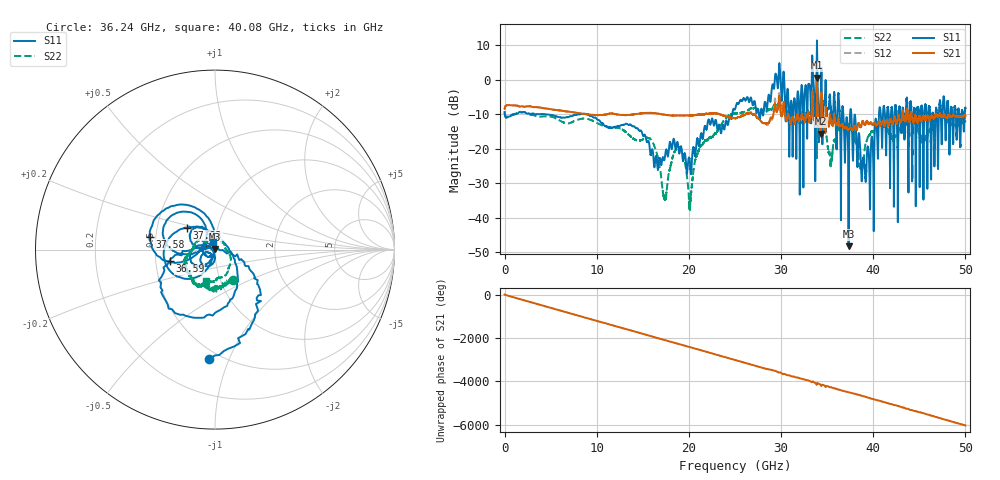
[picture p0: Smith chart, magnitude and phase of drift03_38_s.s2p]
!Created with skrf (http://scikit-rf.org).
# Hz S RI R 50.0
!freq ReS11 ImS11 ReS21 ImS21 ReS12 ImS12 ReS22 ImS22
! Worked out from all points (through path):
!   10001 points, 300 kHz to 50 GHz, reference 50 ohm
!   highest |S21| = 0.66 dB at 33.9 GHz (marker M1); lowest = -15.6 dB at 34.32 GHz (marker M2)
!   group delay of S21, straight-line fit = 335 ps
!   lowest |S11| = -48.3 dB at 37.33 GHz (marker M3), VSWR 1.01, Z = 49.8 + j0.334 ohm
!   |S11| at or under -10 dB: 4.471 GHz to 7.949 GHz (3.478 GHz wide, 56 % of centre); 9.017 GHz to 24.7 GHz (15.68 GHz wide, 93 % of centre); 37.62 GHz to 40.62 GHz (3.003 GHz wide, 7.68 % of centre) (the widest 3 of 66)
!   |S22| runs from -38.0 to -5.9 dB; largest |S21 - S12| = 0.11
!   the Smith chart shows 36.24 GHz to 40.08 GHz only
!   S11 on the Smith chart (normalised r, x): 36.24 GHz: 0.43, -0.85; 36.59 GHz: 0.59, -0.08; 37.03 GHz: 0.71, +0.18; 37.58 GHz: 0.46, +0.08; 40.08 GHz: 0.97, +0.08
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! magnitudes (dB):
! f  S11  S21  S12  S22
! 300 kHz  -9.3  -8.4  -8.4  -9.2
! 8.335 GHz  -9.9  -9.8  -9.8  -11.3
! 16.67 GHz  -25.5  -9.8  -9.8  -23.3
! 17.39 GHz  -22.7  -10.1  -10.1  -34.5
! 19.07 GHz  -19.9  -10.3  -10.3  -20.0
! 20.12 GHz  -24.3  -10.3  -10.3  -35.9
! 21.19 GHz  -17.7  -10.1  -10.1  -19.6
! 25 GHz  -8.6  -11.1  -11.1  -9.8
! 31.08 GHz  -6.1  -12.7  -12.7  -10.5
! 33.34 GHz  0.5  -7.5  -7.6  -9.4
! 33.9 GHz  11.4  0.7  0.2  -22.7
! 34.32 GHz  -2.9  -15.6  -15.0  -11.3
! 35.35 GHz  -6.9  -10.6  -10.1  -24.4
! 36.24 GHz  -4.3  -11.8  -11.7  -14.1
! 36.59 GHz  -11.7  -13.1  -13.0  -13.2
! 37.03 GHz  -14.1  -13.8  -14.0  -14.1
! 37.33 GHz  -48.3  -14.3  -14.5  -13.6
! 37.58 GHz  -8.6  -14.0  -13.8  -14.0
! 38.71 GHz  -27.2  -13.5  -13.4  -25.2
! 40.08 GHz  -27.6  -12.7  -12.7  -14.8
! 41.67 GHz  -9.6  -13.3  -13.2  -14.7
! 50 GHz  -8.2  -10.5  -10.6  -12.1
